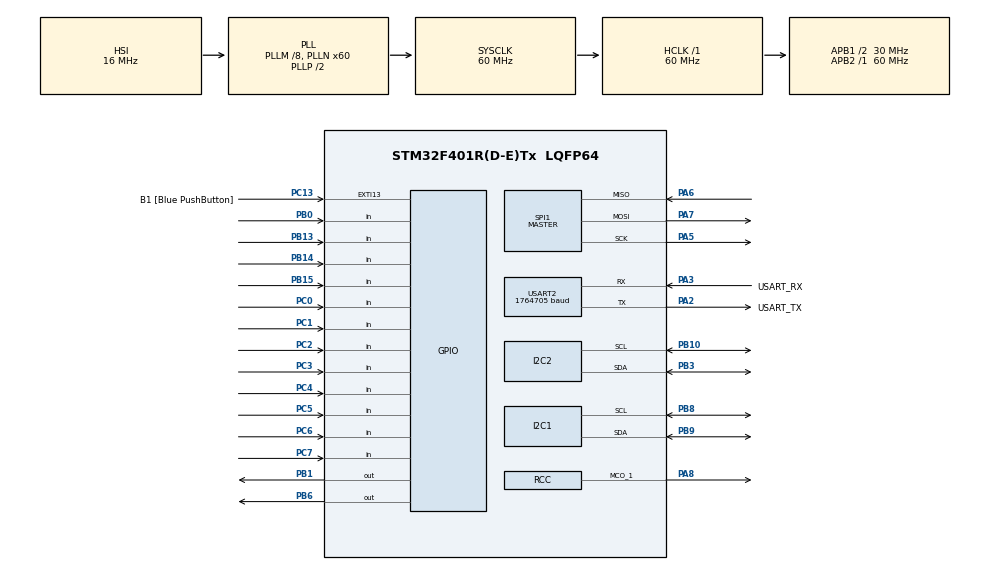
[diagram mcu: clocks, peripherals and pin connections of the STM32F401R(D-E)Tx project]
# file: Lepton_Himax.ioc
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I2C1.I2C_Mode=I2C_Fast
I2C2.I2C_Mode=I2C_Fast
Mcu.Family=STM32F4
Mcu.Name=STM32F401R(D-E)Tx
Mcu.Package=LQFP64
NVIC.EXTI15_10_IRQn=true\:0\:0\:false\:false\:true\:true\:true
NVIC.FPU_IRQn=true\:0\:0\:false\:false\:true\:true\:false
NVIC.PriorityGroup=NVIC_PRIORITYGROUP_0
PA13.GPIO_Label=TMS
PA13.Mode=Serial_Wire
PA13.Signal=SYS_JTMS-SWDIO
PA14.GPIO_Label=TCK
PA14.Mode=Serial_Wire
PA14.Signal=SYS_JTCK-SWCLK
PA2.GPIO_Label=USART_TX
PA2.GPIO_Mode=GPIO_MODE_AF_PP
PA2.GPIO_PuPd=GPIO_NOPULL
PA2.GPIO_Speed=GPIO_SPEED_FREQ_LOW
PA2.Mode=Asynchronous
PA2.Signal=USART2_TX
PA3.GPIO_Label=USART_RX
PA3.GPIO_Mode=GPIO_MODE_AF_PP
PA3.GPIO_PuPd=GPIO_NOPULL
PA3.GPIO_Speed=GPIO_SPEED_FREQ_LOW
PA3.Mode=Asynchronous
PA3.Signal=USART2_RX
PA5.Mode=Full_Duplex_Master
PA5.Signal=SPI1_SCK
PA6.Mode=Full_Duplex_Master
PA6.Signal=SPI1_MISO
PA7.Mode=Full_Duplex_Master
PA7.Signal=SPI1_MOSI
PA8.Mode=Clock-out-1
PA8.Signal=RCC_MCO_1
PB0.Signal=GPIO_Input
PB1.Signal=GPIO_Output
PB10.Mode=I2C
PB10.Signal=I2C2_SCL
PB13.Signal=GPIO_Input
PB14.Signal=GPIO_Input
PB15.Signal=GPIO_Input
PB3.Mode=I2C
PB3.Signal=I2C2_SDA
PB6.Signal=GPIO_Output
PB8.Mode=I2C
PB8.Signal=I2C1_SCL
PB9.Mode=I2C
PB9.Signal=I2C1_SDA
PC0.Signal=GPIO_Input
PC1.Signal=GPIO_Input
PC13-ANTI_TAMP.GPIO_Label=B1 [Blue PushButton]
PC13-ANTI_TAMP.GPIO_ModeDefaultEXTI=GPIO_MODE_IT_FALLING
PC13-ANTI_TAMP.GPIO_PuPd=GPIO_NOPULL
PC13-ANTI_TAMP.Signal=GPXTI13
PC14-OSC32_IN.Mode=LSE-External-Oscillator
PC14-OSC32_IN.Signal=RCC_OSC32_IN
PC15-OSC32_OUT.Mode=LSE-External-Oscillator
PC15-OSC32_OUT.Signal=RCC_OSC32_OUT
PC2.Signal=GPIO_Input
PC3.Signal=GPIO_Input
PC4.Signal=GPIO_Input
PC5.Signal=GPIO_Input
PC6.Signal=GPIO_Input
PC7.Signal=GPIO_Input
PH0\ -\ OSC_IN.Mode=HSE-External-Clock-Source
PH0\ -\ OSC_IN.Signal=RCC_OSC_IN
PH1\ -\ OSC_OUT.Mode=HSE-External-Clock-Source
PH1\ -\ OSC_OUT.Signal=RCC_OSC_OUT
ProjectManager.HeapSize=0x200
ProjectManager.StackSize=0x400
ProjectManager.TargetToolchain=STM32CubeIDE
RCC.48MHZClocksFreq_Value=17142857.14285714
RCC.AHBFreq_Value=60000000
RCC.APB1CLKDivider=RCC_HCLK_DIV2
RCC.APB1Freq_Value=30000000
RCC.APB1TimFreq_Value=60000000
RCC.APB2Freq_Value=60000000
RCC.APB2TimFreq_Value=60000000
RCC.CortexFreq_Value=60000000
RCC.HCLKFreq_Value=60000000
RCC.HSE_VALUE=8000000
RCC.HSI_VALUE=16000000
RCC.PLLM=8
RCC.PLLN=60
RCC.PLLQ=7
RCC.RCC_MCODiv1=RCC_MCODIV_5
RCC.SYSCLKFreq_VALUE=60000000
RCC.SYSCLKSource=RCC_SYSCLKSOURCE_PLLCLK
RCC.VCOOutputFreq_Value=120000000
SPI1.CLKPhase=SPI_PHASE_2EDGE
SPI1.CLKPolarity=SPI_POLARITY_HIGH
SPI1.DataSize=SPI_DATASIZE_16BIT
SPI1.Direction=SPI_DIRECTION_2LINES
SPI1.Mode=SPI_MODE_MASTER
SPI1.VirtualType=VM_MASTER
USART2.BaudRate=1764705
USART2.Mode=MODE_TX_RX
USART2.VirtualMode=VM_ASYNC
board=NUCLEO-F401RE

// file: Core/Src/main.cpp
/* USER CODE BEGIN Header */
/**
  ******************************************************************************
  * @file           : main.c
  * @brief          : Main program body
  ******************************************************************************
  * @attention
  *
  * <h2><center>&copy; Copyright (c) 2021 STMicroelectronics.
  * All rights reserved.</center></h2>
  *
  * This software component is licensed by ST under BSD 3-Clause license,
  * the "License"; You may not use this file except in compliance with the
  * License. You may obtain a copy of the License at:
  *                        opensource.org/licenses/BSD-3-Clause
  *
  ******************************************************************************
  */
/* USER CODE END Header */
#include "main.h"
#include "i2c.h"
#include "spi.h"
#include "usart.h"
#include "gpio.h"

/* USER CODE BEGIN Includes */
#include "LeptonFLiR.h"
#include "hm01b0.h"
#include "hm01b0_reg.h"

#include "stdio.h"
#include "stdbool.h"
/* USER CODE END Includes */

/* USER CODE BEGIN PV */
bool BLUE_BUTTON = false;
bool skip_first = true;
/* USER CODE END PV */

void SystemClock_Config(void);

int main(void)
{

  /* MCU Configuration--------------------------------------------------------*/

  /* Reset of all peripherals, Initializes the Flash interface and the Systick. */
  HAL_Init();

  /* Configure the system clock */
  SystemClock_Config();

  /* Initialize all configured peripherals */
  MX_GPIO_Init();
  MX_USART2_UART_Init();
  MX_I2C1_Init();
  MX_I2C2_Init();
  MX_SPI1_Init();
  /* USER CODE BEGIN 2 */

  // UNCOMMENT THE OPTION TO USE

//#define LEPTON_ACTIVE 1
//#define HIMAX_ACTIVE 1
#define BOTH_SEPARATE 1
//#define SOVRAPP 1

  // ************************
  //       INIT LEPTON
  // ************************
#if defined LEPTON_ACTIVE || defined BOTH_SEPARATE || defined SOVRAPP

  LEPTON lepton;

  lepton.format 	= LeptonFLiR_ImageStorageMode_RGB888;	// either B&W (LeptonFLiR_ImageStorageMode_RAW14) or RGB (LeptonFLiR_ImageStorageMode_RGB888)
  lepton.temp 		= LeptonFLiR_TemperatureMode_Celsius;	// definition of temperature scale, doesn't do anything (was original of previous code)
  lepton.agc_en 	= LEP_AGC_ENABLE;						// enable or disable AGC (automatic gain control)
  lepton.agc_policy = LEP_AGC_HEQ;							// either linear (LEP_AGC_LINEAR) or histogram (LEP_AGC_HEQ) - refer to section 3.6 of data sheet
  lepton.telemetry 	= false;								// enable or disable Telemetry
  lepton.color 		= LEP_VID_FUSION_LUT;					// select the built in color palette (only for RGB mode)  - refer to page 38 of data sheet

  LeptonFLiR flirController;								// define the class
  flirController.init(lepton.format, lepton.temp);			// init the class

  HAL_Delay(1000);
  flirController.Lepton_setup(&lepton);						// set up Lepton camera as defined in the struct (other more specific set ups are made also in this function)

  // definitions for the transmission cycle
  bool leptonCapture = false;
  uint8_t uart_tx_lep[lepton.W];

#endif

  // ************************
  //        INIT HIMAX
  // ************************

#if defined HIMAX_ACTIVE || defined BOTH_SEPARATE || defined SOVRAPP

  HM01B0 himax = {0};

  himax.mode 		= Streaming;		// either: continuous stream (Streaming), specific number of frames (Streaming2), send trigger for frame (Streaming3)
  himax.resolution 	= QQVGA;			// either: 164x122 (QQVGA), 324x244 (QVGA)
  himax.dataDepth 	= EightB;			// either: 6 bpp (EightB), 8 bpp (SixB)
  himax.dataIo 		= EightL;			// either: 8 Data lines (EightL), 4 Data lines (FourL), 8 Data lines (Serial)
  himax.tPattern 	= Disabled;			// enable the test pattern (Disabled, Walking, ColorBar)

  hm01b0_reg_default_init();			// read and write the standard configuration of the camera

  hm01b0_setup(&himax);					// set up himax camera as defined in the struct

  // definitions for the transmission cycle
  uint32_t himax_pixels;
  uint8_t uart_tx_him[himax.raw_W];

#endif

	// ************************
	//        SOVRAPP
	// ************************
#ifdef SOVRAPP

	uint8_t himax_px;
	uint8_t uart_tx[(himax.raw_W)*3];

	uint16_t lepton_px_R, lepton_px_G, lepton_px_B;
	uint16_t lep_riga=0;
	uint16_t lep_col=0;

#endif

  HAL_Delay(1000);

  /* USER CODE END 2 */

  /* Infinite loop */
  /* USER CODE BEGIN WHILE */
  while (1)
  {

	  // to start or stop reading frames PRESS THE BLUE BUTTON
	  if( BLUE_BUTTON ){
		  HAL_Delay(1);

#if defined LEPTON_ACTIVE && not defined BOTH_SEPARATE && not defined SOVRAPP

		  leptonCapture = flirController.readNextFrame();

		  if( leptonCapture ){
			  for(int riga=lepton.H-1; riga >= 0; --riga){
				  for(int col=0; col< lepton.W; ++col){

					  if(lepton.format == LeptonFLiR_ImageStorageMode_RAW14){
						  uart_tx_lep[lepton.W-1-col] = flirController.RAW_getImageDataRowCol(riga,col);
					  }else if(lepton.format == LeptonFLiR_ImageStorageMode_RGB888){
						  uart_tx_lep[lepton.W-1-col] = flirController.RGB_getImageDataRowCol(riga,col);
					  }

				  }
					  HAL_UART_Transmit(&huart2, (uint8_t *)uart_tx_lep, sizeof(uart_tx_lep), 500);		// send 1 line of pixels
				  }
		  }

		  // for some reason I need to wait a bit only in RGB mode
		  if(lepton.format == LeptonFLiR_ImageStorageMode_RGB888){
			  HAL_Delay(20);
		  }
#endif

#if defined HIMAX_ACTIVE && not defined BOTH_SEPARATE && not defined SOVRAPP

		  // if the resolution selected is QWGA, skip entirely the first frame (should be 79544 pixels but is 20008 pixels)
		  if((himax.resolution==QVGA) && skip_first){
			  himax_pixels = STM_hm01b0_capture(&himax);
			  HAL_Delay(500);
		  }else{
			  skip_first = false;
		  }

		  himax_pixels = STM_hm01b0_capture(&himax);					// capture the image

		  if(himax_pixels == (himax.raw_H*himax.raw_W)) {				// ensure that I got all pixels in the frame
			  for(int riga=0; riga < himax.raw_H; riga++){
				  for(int col=0; col< himax.raw_W; col++){
					  uart_tx_him[col] = get_frame_row_col(&himax, riga, col);
				  }
				  HAL_UART_Transmit(&huart2, (uint8_t *)uart_tx_him, sizeof(uart_tx_him), 500);			// send 1 line of pixels
			  }
		  }
#endif

#ifdef BOTH_SEPARATE

		  himax_pixels = STM_hm01b0_capture(&himax);					// capture HIMAX image
		  leptonCapture = flirController.readNextFrame();				// capture LEPTON image

		  if((leptonCapture==true) && (himax_pixels == (himax.raw_H*himax.raw_W))){

			  // send to PC the HIMAX image
			  for(int riga=0; riga < himax.raw_H; riga++){
				  for(int col=0; col< himax.raw_W; col++){
					  uart_tx_him[col] = get_frame_row_col(&himax, riga, col);
				  }
				  HAL_UART_Transmit(&huart2, (uint8_t *)uart_tx_him, sizeof(uart_tx_him), 500);			// send 1 line of pixels
			  }

			  // send to PC the LEPTON image
			  for(int riga=lepton.H-1; riga >= 0; --riga){
				  for(int col=0; col < lepton.W; ++col){
					  if(lepton.format == LeptonFLiR_ImageStorageMode_RAW14){
						  uart_tx_lep[lepton.W-1-col] = flirController.RAW_getImageDataRowCol(riga,col);
					  }else if(lepton.format == LeptonFLiR_ImageStorageMode_RGB888){
						  uart_tx_lep[lepton.W-1-col] = flirController.RGB_getImageDataRowCol(riga,col);
					  }
				  }
				  HAL_UART_Transmit(&huart2, (uint8_t *)uart_tx_lep, sizeof(uart_tx_lep), 500);			// send 1 line of pixels
			  }

		}
#endif

// in our experiments the overlapping of the two images can be done directly on the STM, it's just a bit trickier to
// send the data on the UART. For what concerns the manipulation of the image (application of median or average filter)
// the results are much better if the manipulation is applied on another device (in our case the laptop). The STM gets
// really slow (less than 1 frame at second) if we try to apply the average filter (because it accesses to 5 pixels)
#ifdef SOVRAPP

		  himax_pixels = STM_hm01b0_capture(&himax);						// capture HIMAX image
		  leptonCapture = flirController.readNextFrame();					// capture LETPON image

		  if((leptonCapture==true) && (himax_pixels == (himax.raw_H*himax.raw_W))){

			  for(int riga=0; riga < himax.raw_H; riga++){
				  for(int col=0; col< himax.raw_W; col++){

					  // put thermo image in the center AND apply average

					  himax_px = get_frame_row_col(&himax, riga, col);

					  if(col<42 || col >122 || riga <31 || riga >91){
						  uart_tx[(col*3)]   = himax_px;
						  uart_tx[(col*3)+1] = himax_px;
						  uart_tx[(col*3)+2] = himax_px;
					  } else {
						  lep_riga = riga-31;
		  				  lep_col  = (col-42)*3;

						  lepton_px_R = flirController.RGB_getImageDataRowCol_AVERAGE(lep_riga,lep_col);
						  lepton_px_G = flirController.RGB_getImageDataRowCol_AVERAGE(lep_riga,lep_col+1);
						  lepton_px_B = flirController.RGB_getImageDataRowCol_AVERAGE(lep_riga,lep_col+2);

		  				  uart_tx[(col*3)]   = lepton_px_R*0.2 + himax_px*0.8;
		  				  uart_tx[(col*3)+1] = lepton_px_G*0.2 + himax_px*0.8;
		  				  uart_tx[(col*3)+2] = lepton_px_B*0.2 + himax_px*0.8;
		  			  }
		  		  }
		  		  HAL_UART_Transmit(&huart2, (uint8_t *)uart_tx, sizeof(uart_tx), 500);					// send 1 line of pixels
		  	  }
	  }

#endif
	  }

    /* USER CODE END WHILE */

  }
}

void SystemClock_Config(void)
{
  RCC_OscInitTypeDef RCC_OscInitStruct = {0};
  RCC_ClkInitTypeDef RCC_ClkInitStruct = {0};

  /** Configure the main internal regulator output voltage
  */
  __HAL_RCC_PWR_CLK_ENABLE();
  __HAL_PWR_VOLTAGESCALING_CONFIG(PWR_REGULATOR_VOLTAGE_SCALE2);
  /** Initializes the RCC Oscillators according to the specified parameters
  * in the RCC_OscInitTypeDef structure.
  */
  RCC_OscInitStruct.OscillatorType = RCC_OSCILLATORTYPE_HSI;
  RCC_OscInitStruct.HSIState = RCC_HSI_ON;
  RCC_OscInitStruct.HSICalibrationValue = RCC_HSICALIBRATION_DEFAULT;
  RCC_OscInitStruct.PLL.PLLState = RCC_PLL_ON;
  RCC_OscInitStruct.PLL.PLLSource = RCC_PLLSOURCE_HSI;
  RCC_OscInitStruct.PLL.PLLM = 8;
  RCC_OscInitStruct.PLL.PLLN = 60;
  RCC_OscInitStruct.PLL.PLLP = RCC_PLLP_DIV2;
  RCC_OscInitStruct.PLL.PLLQ = 7;
  if (HAL_RCC_OscConfig(&RCC_OscInitStruct) != HAL_OK)
  {
    Error_Handler();
  }
  /** Initializes the CPU, AHB and APB buses clocks
  */
  RCC_ClkInitStruct.ClockType = RCC_CLOCKTYPE_HCLK|RCC_CLOCKTYPE_SYSCLK
                              |RCC_CLOCKTYPE_PCLK1|RCC_CLOCKTYPE_PCLK2;
  RCC_ClkInitStruct.SYSCLKSource = RCC_SYSCLKSOURCE_PLLCLK;
  RCC_ClkInitStruct.AHBCLKDivider = RCC_SYSCLK_DIV1;
  RCC_ClkInitStruct.APB1CLKDivider = RCC_HCLK_DIV2;
  RCC_ClkInitStruct.APB2CLKDivider = RCC_HCLK_DIV1;

  if (HAL_RCC_ClockConfig(&RCC_ClkInitStruct, FLASH_LATENCY_1) != HAL_OK)
  {
    Error_Handler();
  }
  HAL_RCC_MCOConfig(RCC_MCO1, RCC_MCO1SOURCE_HSI, RCC_MCODIV_5);
}

/* USER CODE BEGIN 4 */
void HAL_GPIO_EXTI_Callback(uint16_t GPIO_Pin){

	// interrupt blue button
	if(GPIO_Pin==B1_Pin){
		BLUE_BUTTON = !BLUE_BUTTON;
	}
}
/* USER CODE END 4 */

void Error_Handler(void)
{
  __disable_irq();
  while (1)
  {
  }
}

/************************ (C) COPYRIGHT STMicroelectronics *****END OF FILE****/
